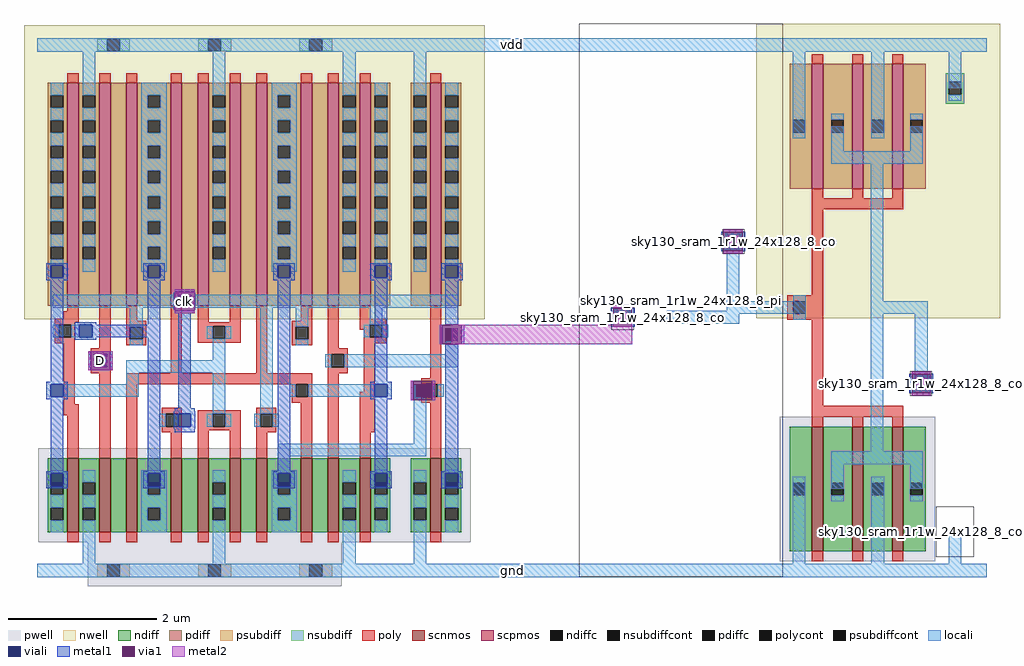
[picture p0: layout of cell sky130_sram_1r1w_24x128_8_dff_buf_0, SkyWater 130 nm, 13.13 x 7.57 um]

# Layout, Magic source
magic
tech sky130B
magscale 1 2
<< locali >>
rect 0 1396 2554 1432
rect 1855 724 1889 885
rect 1855 698 2051 724
rect 1694 690 2051 698
rect 2276 690 2395 724
rect 1694 664 1889 690
rect 2361 503 2395 690
rect 0 -18 2554 18
<< metal1 >>
rect 1841 859 1905 911
rect 1543 655 1607 707
rect 2346 477 2410 529
<< metal2 >>
rect 1858 871 1886 899
rect 369 692 423 756
rect 1549 661 1601 681
rect 1115 609 1601 661
rect 137 538 203 590
rect 2364 489 2392 517
use sky130_fd_bd_sram__openram_dff  sky130_fd_bd_sram__openram_dff_0
transform 1 0 0 0 1 0
box -36 -43 1204 1467
use sky130_sram_1r1w_24x128_8_contact_13  sky130_sram_1r1w_24x128_8_contact_13_0
transform 1 0 1844 0 1 852
box 0 0 58 66
use sky130_sram_1r1w_24x128_8_contact_13  sky130_sram_1r1w_24x128_8_contact_13_1
transform 1 0 2349 0 1 470
box 0 0 58 66
use sky130_sram_1r1w_24x128_8_contact_13  sky130_sram_1r1w_24x128_8_contact_13_2
transform 1 0 1546 0 1 648
box 0 0 58 66
use sky130_sram_1r1w_24x128_8_contact_18  sky130_sram_1r1w_24x128_8_contact_18_0
transform 1 0 1840 0 1 853
box 0 0 64 64
use sky130_sram_1r1w_24x128_8_contact_18  sky130_sram_1r1w_24x128_8_contact_18_1
transform 1 0 2346 0 1 471
box 0 0 64 64
use sky130_sram_1r1w_24x128_8_contact_18  sky130_sram_1r1w_24x128_8_contact_18_2
transform 1 0 1543 0 1 649
box 0 0 64 64
use sky130_sram_1r1w_24x128_8_pinv_0  sky130_sram_1r1w_24x128_8_pinv_0_0
transform 1 0 1494 0 1 0
box -36 -17 512 1471
use sky130_sram_1r1w_24x128_8_pinv_1  sky130_sram_1r1w_24x128_8_pinv_1_0
transform 1 0 1970 0 1 0
box -36 -17 620 1471
<< labels >>
rlabel locali s 1277 1414 1277 1414 4 vdd
port 1 nsew
rlabel locali s 1277 0 1277 0 4 gnd
port 2 nsew
rlabel metal2 s 369 692 423 756 4 clk
port 3 nsew
rlabel metal2 s 137 538 203 590 4 D
port 4 nsew
rlabel metal2 s 2364 489 2392 517 4 Q
port 5 nsew
rlabel metal2 s 1858 871 1886 899 4 Qb
port 6 nsew
<< properties >>
string FIXED_BBOX 0 0 2554 1414
<< end >>

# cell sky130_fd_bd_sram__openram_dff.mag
magic
tech sky130B
magscale 1 2
<< nwell >>
rect -36 676 1204 1467
<< pwell >>
rect 2 76 1166 328
rect 135 -43 819 76
<< scnmos >>
rect 81 102 111 302
rect 167 102 197 302
rect 239 102 269 302
rect 359 102 389 302
rect 431 102 461 302
rect 517 102 547 302
rect 589 102 619 302
rect 709 102 739 302
rect 781 102 811 302
rect 867 102 897 302
rect 1057 102 1087 302
<< scpmos >>
rect 81 712 111 1312
rect 167 712 197 1312
rect 239 712 269 1312
rect 359 712 389 1312
rect 431 712 461 1312
rect 517 712 547 1312
rect 589 712 619 1312
rect 709 712 739 1312
rect 781 712 811 1312
rect 867 712 897 1312
rect 1057 712 1087 1312
<< ndiff >>
rect 28 237 81 302
rect 28 203 36 237
rect 70 203 81 237
rect 28 169 81 203
rect 28 135 36 169
rect 70 135 81 169
rect 28 102 81 135
rect 111 237 167 302
rect 111 203 122 237
rect 156 203 167 237
rect 111 169 167 203
rect 111 135 122 169
rect 156 135 167 169
rect 111 102 167 135
rect 197 102 239 302
rect 269 237 359 302
rect 269 203 297 237
rect 331 203 359 237
rect 269 169 359 203
rect 269 135 297 169
rect 331 135 359 169
rect 269 102 359 135
rect 389 102 431 302
rect 461 237 517 302
rect 461 203 472 237
rect 506 203 517 237
rect 461 169 517 203
rect 461 135 472 169
rect 506 135 517 169
rect 461 102 517 135
rect 547 102 589 302
rect 619 237 709 302
rect 619 203 647 237
rect 681 203 709 237
rect 619 169 709 203
rect 619 135 647 169
rect 681 135 709 169
rect 619 102 709 135
rect 739 102 781 302
rect 811 237 867 302
rect 811 203 822 237
rect 856 203 867 237
rect 811 169 867 203
rect 811 135 822 169
rect 856 135 867 169
rect 811 102 867 135
rect 897 237 950 302
rect 897 203 908 237
rect 942 203 950 237
rect 897 169 950 203
rect 897 135 908 169
rect 942 135 950 169
rect 897 102 950 135
rect 1004 237 1057 302
rect 1004 203 1012 237
rect 1046 203 1057 237
rect 1004 169 1057 203
rect 1004 135 1012 169
rect 1046 135 1057 169
rect 1004 102 1057 135
rect 1087 237 1140 302
rect 1087 203 1098 237
rect 1132 203 1140 237
rect 1087 169 1140 203
rect 1087 135 1098 169
rect 1132 135 1140 169
rect 1087 102 1140 135
<< pdiff >>
rect 28 1279 81 1312
rect 28 1245 36 1279
rect 70 1245 81 1279
rect 28 1211 81 1245
rect 28 1177 36 1211
rect 70 1177 81 1211
rect 28 1143 81 1177
rect 28 1109 36 1143
rect 70 1109 81 1143
rect 28 1075 81 1109
rect 28 1041 36 1075
rect 70 1041 81 1075
rect 28 1007 81 1041
rect 28 973 36 1007
rect 70 973 81 1007
rect 28 939 81 973
rect 28 905 36 939
rect 70 905 81 939
rect 28 871 81 905
rect 28 837 36 871
rect 70 837 81 871
rect 28 712 81 837
rect 111 1279 167 1312
rect 111 1245 122 1279
rect 156 1245 167 1279
rect 111 1211 167 1245
rect 111 1177 122 1211
rect 156 1177 167 1211
rect 111 1143 167 1177
rect 111 1109 122 1143
rect 156 1109 167 1143
rect 111 1075 167 1109
rect 111 1041 122 1075
rect 156 1041 167 1075
rect 111 1007 167 1041
rect 111 973 122 1007
rect 156 973 167 1007
rect 111 939 167 973
rect 111 905 122 939
rect 156 905 167 939
rect 111 871 167 905
rect 111 837 122 871
rect 156 837 167 871
rect 111 712 167 837
rect 197 712 239 1312
rect 269 1279 359 1312
rect 269 1245 297 1279
rect 331 1245 359 1279
rect 269 1211 359 1245
rect 269 1177 297 1211
rect 331 1177 359 1211
rect 269 1143 359 1177
rect 269 1109 297 1143
rect 331 1109 359 1143
rect 269 1075 359 1109
rect 269 1041 297 1075
rect 331 1041 359 1075
rect 269 1007 359 1041
rect 269 973 297 1007
rect 331 973 359 1007
rect 269 939 359 973
rect 269 905 297 939
rect 331 905 359 939
rect 269 871 359 905
rect 269 837 297 871
rect 331 837 359 871
rect 269 712 359 837
rect 389 712 431 1312
rect 461 1279 517 1312
rect 461 1245 472 1279
rect 506 1245 517 1279
rect 461 1211 517 1245
rect 461 1177 472 1211
rect 506 1177 517 1211
rect 461 1143 517 1177
rect 461 1109 472 1143
rect 506 1109 517 1143
rect 461 1075 517 1109
rect 461 1041 472 1075
rect 506 1041 517 1075
rect 461 1007 517 1041
rect 461 973 472 1007
rect 506 973 517 1007
rect 461 939 517 973
rect 461 905 472 939
rect 506 905 517 939
rect 461 871 517 905
rect 461 837 472 871
rect 506 837 517 871
rect 461 712 517 837
rect 547 712 589 1312
rect 619 1279 709 1312
rect 619 1245 647 1279
rect 681 1245 709 1279
rect 619 1211 709 1245
rect 619 1177 647 1211
rect 681 1177 709 1211
rect 619 1143 709 1177
rect 619 1109 647 1143
rect 681 1109 709 1143
rect 619 1075 709 1109
rect 619 1041 647 1075
rect 681 1041 709 1075
rect 619 1007 709 1041
rect 619 973 647 1007
rect 681 973 709 1007
rect 619 939 709 973
rect 619 905 647 939
rect 681 905 709 939
rect 619 871 709 905
rect 619 837 647 871
rect 681 837 709 871
rect 619 712 709 837
rect 739 712 781 1312
rect 811 1279 867 1312
rect 811 1245 822 1279
rect 856 1245 867 1279
rect 811 1211 867 1245
rect 811 1177 822 1211
rect 856 1177 867 1211
rect 811 1143 867 1177
rect 811 1109 822 1143
rect 856 1109 867 1143
rect 811 1075 867 1109
rect 811 1041 822 1075
rect 856 1041 867 1075
rect 811 1007 867 1041
rect 811 973 822 1007
rect 856 973 867 1007
rect 811 939 867 973
rect 811 905 822 939
rect 856 905 867 939
rect 811 871 867 905
rect 811 837 822 871
rect 856 837 867 871
rect 811 712 867 837
rect 897 1279 950 1312
rect 897 1245 908 1279
rect 942 1245 950 1279
rect 897 1211 950 1245
rect 897 1177 908 1211
rect 942 1177 950 1211
rect 897 1143 950 1177
rect 897 1109 908 1143
rect 942 1109 950 1143
rect 897 1075 950 1109
rect 897 1041 908 1075
rect 942 1041 950 1075
rect 897 1007 950 1041
rect 897 973 908 1007
rect 942 973 950 1007
rect 897 939 950 973
rect 897 905 908 939
rect 942 905 950 939
rect 897 871 950 905
rect 897 837 908 871
rect 942 837 950 871
rect 897 712 950 837
rect 1004 1279 1057 1312
rect 1004 1245 1012 1279
rect 1046 1245 1057 1279
rect 1004 1211 1057 1245
rect 1004 1177 1012 1211
rect 1046 1177 1057 1211
rect 1004 1143 1057 1177
rect 1004 1109 1012 1143
rect 1046 1109 1057 1143
rect 1004 1075 1057 1109
rect 1004 1041 1012 1075
rect 1046 1041 1057 1075
rect 1004 1007 1057 1041
rect 1004 973 1012 1007
rect 1046 973 1057 1007
rect 1004 939 1057 973
rect 1004 905 1012 939
rect 1046 905 1057 939
rect 1004 871 1057 905
rect 1004 837 1012 871
rect 1046 837 1057 871
rect 1004 712 1057 837
rect 1087 1279 1140 1312
rect 1087 1245 1098 1279
rect 1132 1245 1140 1279
rect 1087 1211 1140 1245
rect 1087 1177 1098 1211
rect 1132 1177 1140 1211
rect 1087 1143 1140 1177
rect 1087 1109 1098 1143
rect 1132 1109 1140 1143
rect 1087 1075 1140 1109
rect 1087 1041 1098 1075
rect 1132 1041 1140 1075
rect 1087 1007 1140 1041
rect 1087 973 1098 1007
rect 1132 973 1140 1007
rect 1087 939 1140 973
rect 1087 905 1098 939
rect 1132 905 1140 939
rect 1087 871 1140 905
rect 1087 837 1098 871
rect 1132 837 1140 871
rect 1087 712 1140 837
<< ndiffc >>
rect 36 203 70 237
rect 36 135 70 169
rect 122 203 156 237
rect 122 135 156 169
rect 297 203 331 237
rect 297 135 331 169
rect 472 203 506 237
rect 472 135 506 169
rect 647 203 681 237
rect 647 135 681 169
rect 822 203 856 237
rect 822 135 856 169
rect 908 203 942 237
rect 908 135 942 169
rect 1012 203 1046 237
rect 1012 135 1046 169
rect 1098 203 1132 237
rect 1098 135 1132 169
<< pdiffc >>
rect 36 1245 70 1279
rect 36 1177 70 1211
rect 36 1109 70 1143
rect 36 1041 70 1075
rect 36 973 70 1007
rect 36 905 70 939
rect 36 837 70 871
rect 122 1245 156 1279
rect 122 1177 156 1211
rect 122 1109 156 1143
rect 122 1041 156 1075
rect 122 973 156 1007
rect 122 905 156 939
rect 122 837 156 871
rect 297 1245 331 1279
rect 297 1177 331 1211
rect 297 1109 331 1143
rect 297 1041 331 1075
rect 297 973 331 1007
rect 297 905 331 939
rect 297 837 331 871
rect 472 1245 506 1279
rect 472 1177 506 1211
rect 472 1109 506 1143
rect 472 1041 506 1075
rect 472 973 506 1007
rect 472 905 506 939
rect 472 837 506 871
rect 647 1245 681 1279
rect 647 1177 681 1211
rect 647 1109 681 1143
rect 647 1041 681 1075
rect 647 973 681 1007
rect 647 905 681 939
rect 647 837 681 871
rect 822 1245 856 1279
rect 822 1177 856 1211
rect 822 1109 856 1143
rect 822 1041 856 1075
rect 822 973 856 1007
rect 822 905 856 939
rect 822 837 856 871
rect 908 1245 942 1279
rect 908 1177 942 1211
rect 908 1109 942 1143
rect 908 1041 942 1075
rect 908 973 942 1007
rect 908 905 942 939
rect 908 837 942 871
rect 1012 1245 1046 1279
rect 1012 1177 1046 1211
rect 1012 1109 1046 1143
rect 1012 1041 1046 1075
rect 1012 973 1046 1007
rect 1012 905 1046 939
rect 1012 837 1046 871
rect 1098 1245 1132 1279
rect 1098 1177 1132 1211
rect 1098 1109 1132 1143
rect 1098 1041 1132 1075
rect 1098 973 1132 1007
rect 1098 905 1132 939
rect 1098 837 1132 871
<< psubdiff >>
rect 161 -17 188 17
rect 222 -17 249 17
rect 433 -17 460 17
rect 494 -17 521 17
rect 705 -17 732 17
rect 766 -17 793 17
<< nsubdiff >>
rect 161 1397 188 1431
rect 222 1397 249 1431
rect 433 1397 460 1431
rect 494 1397 521 1431
rect 705 1397 732 1431
rect 766 1397 793 1431
<< psubdiffcont >>
rect 188 -17 222 17
rect 460 -17 494 17
rect 732 -17 766 17
<< nsubdiffcont >>
rect 188 1397 222 1431
rect 460 1397 494 1431
rect 732 1397 766 1431
<< poly >>
rect 81 1312 111 1338
rect 167 1312 197 1338
rect 239 1312 269 1338
rect 359 1312 389 1338
rect 431 1312 461 1338
rect 517 1312 547 1338
rect 589 1312 619 1338
rect 709 1312 739 1338
rect 781 1312 811 1338
rect 867 1312 897 1338
rect 1057 1312 1087 1338
rect 81 697 111 712
rect 70 677 111 697
rect 47 667 111 677
rect 47 661 101 667
rect 47 627 57 661
rect 91 627 101 661
rect 47 611 101 627
rect 71 447 101 611
rect 167 597 197 712
rect 239 672 269 712
rect 239 656 293 672
rect 239 622 249 656
rect 283 622 293 656
rect 239 606 293 622
rect 143 581 197 597
rect 143 547 153 581
rect 187 547 197 581
rect 143 531 197 547
rect 359 531 389 712
rect 431 667 461 712
rect 517 667 547 712
rect 431 657 547 667
rect 431 623 472 657
rect 506 623 547 657
rect 431 613 547 623
rect 589 531 619 712
rect 709 672 739 712
rect 685 656 739 672
rect 685 622 695 656
rect 729 622 739 656
rect 685 606 739 622
rect 781 597 811 712
rect 867 677 897 712
rect 867 661 938 677
rect 867 647 894 661
rect 878 627 894 647
rect 928 627 938 661
rect 878 611 938 627
rect 781 581 835 597
rect 781 547 791 581
rect 825 547 835 581
rect 781 531 835 547
rect 71 417 111 447
rect 81 302 111 417
rect 167 302 197 531
rect 239 501 739 531
rect 239 302 269 501
rect 685 467 695 501
rect 729 467 739 501
rect 685 451 739 467
rect 335 421 389 437
rect 335 387 345 421
rect 379 387 389 421
rect 335 371 389 387
rect 359 302 389 371
rect 431 421 547 431
rect 431 387 472 421
rect 506 387 547 421
rect 431 377 547 387
rect 431 302 461 377
rect 517 302 547 377
rect 589 421 643 437
rect 589 387 599 421
rect 633 387 643 421
rect 589 371 643 387
rect 589 302 619 371
rect 709 302 739 451
rect 781 302 811 531
rect 878 481 908 611
rect 1057 517 1087 712
rect 867 371 908 481
rect 1033 501 1087 517
rect 1033 467 1043 501
rect 1077 467 1087 501
rect 1033 451 1087 467
rect 867 302 897 371
rect 1057 302 1087 451
rect 81 76 111 102
rect 167 76 197 102
rect 239 76 269 102
rect 359 76 389 102
rect 431 76 461 102
rect 517 76 547 102
rect 589 76 619 102
rect 709 76 739 102
rect 781 76 811 102
rect 867 76 897 102
rect 1057 76 1087 102
<< polycont >>
rect 57 627 91 661
rect 249 622 283 656
rect 153 547 187 581
rect 472 623 506 657
rect 695 622 729 656
rect 894 627 928 661
rect 791 547 825 581
rect 695 467 729 501
rect 345 387 379 421
rect 472 387 506 421
rect 599 387 633 421
rect 1043 467 1077 501
<< locali >>
rect 0 1431 1168 1432
rect 0 1397 188 1431
rect 222 1397 460 1431
rect 494 1397 732 1431
rect 766 1397 1168 1431
rect 0 1396 1168 1397
rect 36 1279 70 1312
rect 36 1211 70 1245
rect 36 1143 70 1177
rect 36 1075 70 1109
rect 36 1007 70 1041
rect 36 939 70 973
rect 36 871 70 905
rect 36 821 70 837
rect 122 1279 156 1396
rect 122 1211 156 1245
rect 122 1143 156 1177
rect 122 1075 156 1109
rect 122 1007 156 1041
rect 122 939 156 973
rect 122 871 156 905
rect 122 804 156 837
rect 280 1279 348 1312
rect 280 1245 297 1279
rect 331 1245 348 1279
rect 280 1211 348 1245
rect 280 1177 297 1211
rect 331 1177 348 1211
rect 280 1143 348 1177
rect 280 1109 297 1143
rect 331 1109 348 1143
rect 280 1075 348 1109
rect 280 1041 297 1075
rect 331 1041 348 1075
rect 280 1007 348 1041
rect 280 973 297 1007
rect 331 973 348 1007
rect 280 939 348 973
rect 280 905 297 939
rect 331 905 348 939
rect 280 871 348 905
rect 280 837 297 871
rect 331 837 348 871
rect 280 821 348 837
rect 280 804 297 821
rect 331 804 348 821
rect 472 1279 506 1396
rect 472 1211 506 1245
rect 472 1143 506 1177
rect 472 1075 506 1109
rect 472 1007 506 1041
rect 472 939 506 973
rect 472 871 506 905
rect 472 804 506 837
rect 630 1279 698 1312
rect 630 1245 647 1279
rect 681 1245 698 1279
rect 630 1211 698 1245
rect 630 1177 647 1211
rect 681 1177 698 1211
rect 630 1143 698 1177
rect 630 1109 647 1143
rect 681 1109 698 1143
rect 630 1075 698 1109
rect 630 1041 647 1075
rect 681 1041 698 1075
rect 630 1007 698 1041
rect 630 973 647 1007
rect 681 973 698 1007
rect 630 939 698 973
rect 630 905 647 939
rect 681 905 698 939
rect 630 871 698 905
rect 630 837 647 871
rect 681 837 698 871
rect 630 821 698 837
rect 630 804 647 821
rect 681 804 698 821
rect 822 1279 856 1396
rect 822 1211 856 1245
rect 822 1143 856 1177
rect 822 1075 856 1109
rect 822 1007 856 1041
rect 822 939 856 973
rect 822 871 856 905
rect 822 804 856 837
rect 908 1279 942 1312
rect 908 1211 942 1245
rect 908 1143 942 1177
rect 908 1075 942 1109
rect 908 1007 942 1041
rect 908 939 942 973
rect 908 871 942 905
rect 908 821 942 837
rect 1012 1279 1046 1396
rect 1012 1211 1046 1245
rect 1012 1143 1046 1177
rect 1012 1075 1046 1109
rect 1012 1007 1046 1041
rect 1012 939 1046 973
rect 1012 871 1046 905
rect 1012 804 1046 837
rect 1098 1279 1132 1312
rect 1098 1211 1132 1245
rect 1098 1143 1132 1177
rect 1098 1075 1132 1109
rect 1098 1007 1132 1041
rect 1098 939 1132 973
rect 1098 871 1132 905
rect 1098 821 1132 837
rect 41 707 379 741
rect 413 707 1132 741
rect 41 627 57 661
rect 91 627 113 661
rect 249 656 283 707
rect 456 623 472 657
rect 506 623 522 657
rect 249 606 283 622
rect 137 547 153 581
rect 187 547 203 581
rect 472 566 506 623
rect 239 532 506 566
rect 239 501 273 532
rect 70 467 273 501
rect 472 421 506 532
rect 599 421 633 707
rect 695 656 729 707
rect 894 661 928 707
rect 878 627 894 661
rect 928 627 944 661
rect 695 606 729 622
rect 1098 581 1132 618
rect 775 547 791 581
rect 825 547 1132 581
rect 679 467 695 501
rect 729 467 908 501
rect 1012 467 1020 501
rect 1077 467 1093 501
rect 328 387 345 421
rect 456 387 472 421
rect 506 387 522 421
rect 583 387 599 421
rect 633 387 649 421
rect 1012 341 1046 467
rect 647 307 1046 341
rect 647 270 681 307
rect 36 261 70 270
rect 36 169 70 203
rect 36 102 70 135
rect 122 237 156 270
rect 122 169 156 203
rect 122 18 156 135
rect 280 261 348 270
rect 280 203 297 261
rect 331 203 348 261
rect 280 169 348 203
rect 280 135 297 169
rect 331 135 348 169
rect 280 102 348 135
rect 472 237 506 270
rect 472 169 506 203
rect 472 18 506 135
rect 630 261 698 270
rect 630 203 647 261
rect 681 203 698 261
rect 630 169 698 203
rect 630 135 647 169
rect 681 135 698 169
rect 630 102 698 135
rect 822 237 856 270
rect 822 169 856 203
rect 822 18 856 135
rect 908 261 942 271
rect 908 169 942 203
rect 908 102 942 135
rect 1012 237 1046 270
rect 1012 169 1046 203
rect 1012 18 1046 135
rect 1098 261 1132 271
rect 1098 169 1132 203
rect 1098 102 1132 135
rect 0 17 1168 18
rect 0 -17 188 17
rect 222 -17 460 17
rect 494 -17 732 17
rect 766 -17 1168 17
rect 0 -18 1168 -17
<< viali >>
rect 36 787 70 821
rect 297 787 331 821
rect 647 787 681 821
rect 908 787 942 821
rect 1098 787 1132 821
rect 379 707 413 741
rect 113 627 147 661
rect 153 547 187 581
rect 36 467 70 501
rect 1098 618 1132 652
rect 908 467 942 501
rect 1020 467 1043 501
rect 1043 467 1054 501
rect 379 387 413 421
rect 36 237 70 261
rect 36 227 70 237
rect 297 237 331 261
rect 297 227 331 237
rect 647 237 681 261
rect 647 227 681 237
rect 908 237 942 261
rect 908 227 942 237
rect 1098 237 1132 261
rect 1098 227 1132 237
<< metal1 >>
rect 24 821 82 827
rect 24 787 36 821
rect 70 787 82 821
rect 24 781 82 787
rect 285 821 343 827
rect 285 787 297 821
rect 331 787 343 821
rect 285 781 343 787
rect 635 821 693 827
rect 635 787 647 821
rect 681 787 693 821
rect 635 781 693 787
rect 896 821 954 827
rect 896 787 908 821
rect 942 787 954 821
rect 896 781 954 787
rect 1086 821 1144 827
rect 1086 787 1098 821
rect 1132 787 1144 821
rect 1086 781 1144 787
rect 36 507 70 781
rect 101 661 159 667
rect 297 661 331 781
rect 369 750 423 756
rect 369 747 370 750
rect 367 701 370 747
rect 422 747 423 750
rect 369 698 370 701
rect 422 701 425 747
rect 422 698 423 701
rect 369 692 423 698
rect 101 627 113 661
rect 147 627 331 661
rect 101 621 159 627
rect 137 538 144 590
rect 196 538 203 590
rect 24 501 82 507
rect 24 467 36 501
rect 70 467 82 501
rect 24 461 82 467
rect 36 267 70 461
rect 297 267 331 627
rect 379 436 413 692
rect 369 427 423 436
rect 367 421 425 427
rect 367 387 379 421
rect 413 387 425 421
rect 367 381 425 387
rect 369 372 423 381
rect 647 267 681 781
rect 908 507 942 781
rect 1098 661 1132 781
rect 1082 609 1089 661
rect 1141 609 1148 661
rect 896 501 954 507
rect 896 467 908 501
rect 942 467 954 501
rect 896 461 954 467
rect 908 267 942 461
rect 1004 458 1011 510
rect 1063 458 1070 510
rect 1098 267 1132 609
rect 24 261 82 267
rect 24 227 36 261
rect 70 227 82 261
rect 24 221 82 227
rect 285 261 343 267
rect 285 227 297 261
rect 331 227 343 261
rect 285 221 343 227
rect 635 261 693 267
rect 635 227 647 261
rect 681 227 693 261
rect 635 221 693 227
rect 896 261 954 267
rect 896 227 908 261
rect 942 227 954 261
rect 896 221 954 227
rect 1086 261 1144 267
rect 1086 227 1098 261
rect 1132 227 1144 261
rect 1086 221 1144 227
<< via1 >>
rect 370 741 422 750
rect 370 707 379 741
rect 379 707 413 741
rect 413 707 422 741
rect 370 698 422 707
rect 144 581 196 590
rect 144 547 153 581
rect 153 547 187 581
rect 187 547 196 581
rect 144 538 196 547
rect 1089 652 1141 661
rect 1089 618 1098 652
rect 1098 618 1132 652
rect 1132 618 1141 652
rect 1089 609 1141 618
rect 1011 501 1063 510
rect 1011 467 1020 501
rect 1020 467 1054 501
rect 1054 467 1063 501
rect 1011 458 1063 467
<< metal2 >>
rect 369 750 423 756
rect 369 698 370 750
rect 422 698 423 750
rect 369 692 423 698
rect 1082 609 1089 661
rect 1141 609 1148 661
rect 137 538 144 590
rect 196 538 203 590
rect 1004 458 1011 510
rect 1063 458 1070 510
<< labels >>
rlabel metal2 s 1007 504 1007 504 4 QN
port 1 nsew
rlabel metal2 s 369 692 423 756 4 CLK
port 2 nsew
rlabel metal2 s 137 538 203 590 4 D
port 3 nsew
rlabel metal2 s 1082 609 1148 661 4 Q
port 4 nsew
rlabel locali s 548 1416 548 1416 4 VDD
port 5 nsew
rlabel locali s 544 0 544 0 4 GND
port 6 nsew
rlabel metal2 s 170 564 170 564 4 D
port 3 nsew
rlabel metal2 s 1115 635 1115 635 4 Q
port 4 nsew
rlabel metal2 s 396 724 396 724 4 clk
port 7 nsew
rlabel locali s 584 1414 584 1414 4 vdd
port 8 nsew
rlabel locali s 584 0 584 0 4 gnd
port 9 nsew
<< properties >>
string FIXED_BBOX 0 0 1168 1414
<< end >>

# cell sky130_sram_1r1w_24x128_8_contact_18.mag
magic
tech sky130B
<< metal1 >>
rect 0 3 3 29
rect 29 3 32 29
<< via1 >>
rect 3 3 29 29
<< metal2 >>
rect 3 29 29 32
rect 3 0 29 3
<< properties >>
string FIXED_BBOX 0 0 32 32
<< end >>

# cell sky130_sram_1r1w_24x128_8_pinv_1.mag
magic
tech sky130B
magscale 1 2
<< nwell >>
rect -36 679 620 1471
<< poly >>
rect 114 740 144 971
rect 81 674 144 740
rect 114 443 144 674
<< locali >>
rect 0 1397 584 1431
rect 62 1162 96 1397
rect 274 1162 308 1397
rect 482 1297 516 1397
rect 64 674 98 740
rect 272 724 306 1128
rect 272 690 323 724
rect 272 286 306 690
rect 62 17 96 186
rect 274 17 308 186
rect 482 17 516 104
rect 0 -17 584 17
use sky130_sram_1r1w_24x128_8_contact_15  sky130_sram_1r1w_24x128_8_contact_15_0
transform 1 0 48 0 1 674
box 0 0 66 66
use sky130_sram_1r1w_24x128_8_contact_28  sky130_sram_1r1w_24x128_8_contact_28_0
transform 1 0 474 0 1 1256
box -59 -43 109 125
use sky130_sram_1r1w_24x128_8_contact_29  sky130_sram_1r1w_24x128_8_contact_29_0
transform 1 0 474 0 1 63
box -26 -26 76 108
use sky130_sram_1r1w_24x128_8_nmos_m3_w1_680_sli_dli_da_p  sky130_sram_1r1w_24x128_8_nmos_m3_w1_680_sli_dli_da_p_0
transform 1 0 54 0 1 51
box -26 -26 392 392
use sky130_sram_1r1w_24x128_8_pmos_m3_w1_680_sli_dli_da_p  sky130_sram_1r1w_24x128_8_pmos_m3_w1_680_sli_dli_da_p_0
transform 1 0 54 0 1 1027
box -59 -56 425 390
<< labels >>
rlabel locali s 81 707 81 707 4 A
port 1 nsew
rlabel locali s 306 707 306 707 4 Z
port 2 nsew
rlabel locali s 292 0 292 0 4 gnd
port 3 nsew
rlabel locali s 292 1414 292 1414 4 vdd
port 4 nsew
<< properties >>
string FIXED_BBOX 0 0 584 1414
<< end >>

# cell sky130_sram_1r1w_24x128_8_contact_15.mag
magic
tech sky130B
<< poly >>
rect 0 25 33 33
rect 0 8 8 25
rect 25 8 33 25
rect 0 0 33 8
<< polycont >>
rect 8 8 25 25
<< locali >>
rect 8 25 25 33
rect 8 0 25 8
<< properties >>
string FIXED_BBOX -10 -10 43 43
<< end >>

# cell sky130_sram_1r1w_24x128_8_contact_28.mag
magic
tech sky130B
magscale 1 2
<< nwell >>
rect -59 -43 109 125
<< nsubdiff >>
rect 0 58 50 82
rect 0 24 8 58
rect 42 24 50 58
rect 0 0 50 24
<< nsubdiffcont >>
rect 8 24 42 58
<< locali >>
rect 8 58 42 74
rect 8 8 42 24
<< properties >>
string FIXED_BBOX -59 -43 109 125
<< end >>

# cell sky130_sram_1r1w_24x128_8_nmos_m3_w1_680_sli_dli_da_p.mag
magic
tech sky130B
magscale 1 2
<< pwell >>
rect -26 -26 392 362
<< scnmos >>
rect 60 0 90 336
rect 168 0 198 336
rect 276 0 306 336
<< ndiff >>
rect 0 0 60 336
rect 90 0 168 336
rect 198 0 276 336
rect 306 0 366 336
<< poly >>
rect 60 362 306 392
rect 60 336 90 362
rect 168 336 198 362
rect 276 336 306 362
rect 60 -26 90 0
rect 168 -26 198 0
rect 276 -26 306 0
<< locali >>
rect 112 235 358 269
rect 8 135 42 201
rect 112 168 146 235
rect 220 135 254 201
rect 324 168 358 235
use sky130_sram_1r1w_24x128_8_contact_10  sky130_sram_1r1w_24x128_8_contact_10_0
transform 1 0 316 0 1 135
box -26 -22 76 88
use sky130_sram_1r1w_24x128_8_contact_10  sky130_sram_1r1w_24x128_8_contact_10_1
transform 1 0 212 0 1 135
box -26 -22 76 88
use sky130_sram_1r1w_24x128_8_contact_10  sky130_sram_1r1w_24x128_8_contact_10_2
transform 1 0 104 0 1 135
box -26 -22 76 88
use sky130_sram_1r1w_24x128_8_contact_10  sky130_sram_1r1w_24x128_8_contact_10_3
transform 1 0 0 0 1 135
box -26 -22 76 88
<< labels >>
rlabel poly s 183 377 183 377 4 G
port 1 nsew
rlabel locali s 237 168 237 168 4 S
port 2 nsew
rlabel locali s 25 168 25 168 4 S
port 2 nsew
rlabel locali s 235 252 235 252 4 D
port 3 nsew
<< properties >>
string FIXED_BBOX -25 -26 391 392
<< end >>

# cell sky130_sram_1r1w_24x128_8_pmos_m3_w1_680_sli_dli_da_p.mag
magic
tech sky130B
magscale 1 2
<< nwell >>
rect -54 -54 420 390
<< scpmos >>
rect 60 0 90 336
rect 168 0 198 336
rect 276 0 306 336
<< pdiff >>
rect 0 0 60 336
rect 90 0 168 336
rect 198 0 276 336
rect 306 0 366 336
<< poly >>
rect 60 336 90 362
rect 168 336 198 362
rect 276 336 306 362
rect 60 -26 90 0
rect 168 -26 198 0
rect 276 -26 306 0
rect 60 -56 306 -26
<< locali >>
rect 8 135 42 201
rect 112 101 146 168
rect 220 135 254 201
rect 324 101 358 168
rect 112 67 358 101
use sky130_sram_1r1w_24x128_8_contact_11  sky130_sram_1r1w_24x128_8_contact_11_0
transform 1 0 316 0 1 135
box -59 -51 109 117
use sky130_sram_1r1w_24x128_8_contact_11  sky130_sram_1r1w_24x128_8_contact_11_1
transform 1 0 212 0 1 135
box -59 -51 109 117
use sky130_sram_1r1w_24x128_8_contact_11  sky130_sram_1r1w_24x128_8_contact_11_2
transform 1 0 104 0 1 135
box -59 -51 109 117
use sky130_sram_1r1w_24x128_8_contact_11  sky130_sram_1r1w_24x128_8_contact_11_3
transform 1 0 0 0 1 135
box -59 -51 109 117
<< labels >>
rlabel poly s 183 -41 183 -41 4 G
port 1 nsew
rlabel locali s 237 168 237 168 4 S
port 2 nsew
rlabel locali s 25 168 25 168 4 S
port 2 nsew
rlabel locali s 235 84 235 84 4 D
port 3 nsew
<< properties >>
string FIXED_BBOX -54 -56 420 390
<< end >>

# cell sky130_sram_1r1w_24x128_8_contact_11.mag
magic
tech sky130B
magscale 1 2
<< nwell >>
rect -59 -51 109 117
<< pdiff >>
rect 0 50 50 62
rect 0 16 8 50
rect 42 16 50 50
rect 0 4 50 16
<< pdiffc >>
rect 8 16 42 50
<< locali >>
rect 8 50 42 66
rect 8 0 42 16
<< properties >>
string FIXED_BBOX -59 -51 109 117
<< end >>

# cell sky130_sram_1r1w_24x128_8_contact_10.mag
magic
tech sky130B
<< pwell >>
rect -13 -11 38 44
<< ndiff >>
rect 0 25 25 31
rect 0 8 4 25
rect 21 8 25 25
rect 0 2 25 8
<< ndiffc >>
rect 4 8 21 25
<< locali >>
rect 4 25 21 33
rect 4 0 21 8
<< properties >>
string FIXED_BBOX -12 -10 37 43
<< end >>
